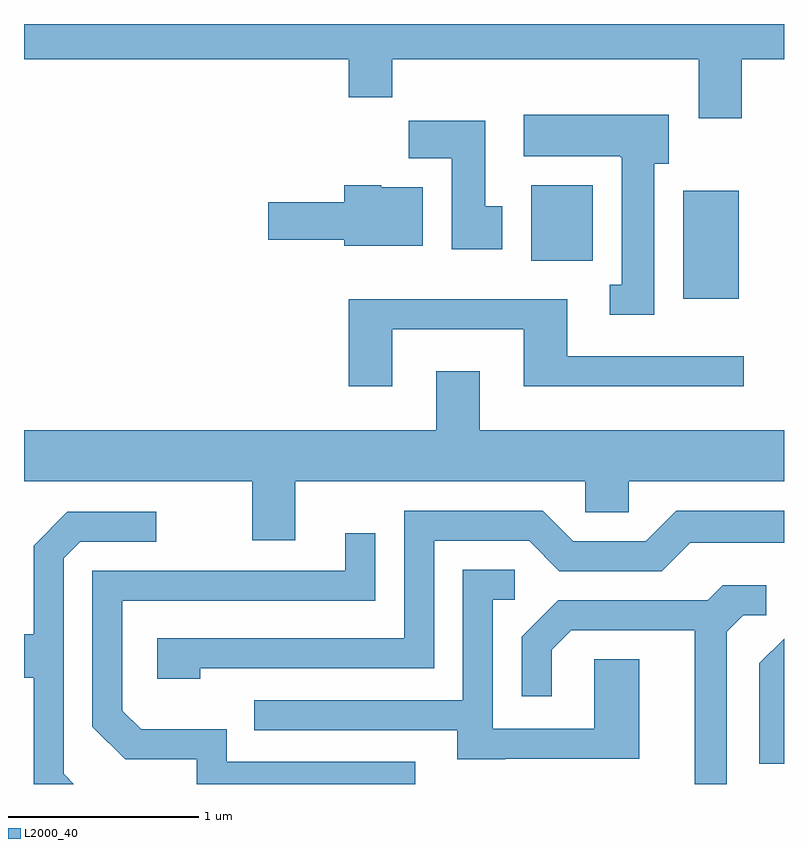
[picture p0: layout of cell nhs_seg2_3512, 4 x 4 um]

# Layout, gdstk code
import gdstk
lib = gdstk.Library(unit=1e-6, precision=1e-09)
def R(c, l, rs):  # rectangles x0, y0, x1, y1
    for r in rs: c.add(gdstk.rectangle(r[:2], r[2:], *l))
def P(c, l, *ps):  # polygons
    for p in ps: c.add(gdstk.Polygon(p, *l))
L2000_40 = (2000, 40)

nhs_seg2_3512 = lib.new_cell('nhs_seg2_3512')
R(nhs_seg2_3512, L2000_40, [(291.081,1080.356,291.374,1080.924), (290.281,1080.556,290.604,1080.954)])
P(nhs_seg2_3512, L2000_40, [(291.389,1081.616),(291.611,1081.616),(291.611,1081.802),(287.611,1081.802),(287.611,1081.616),(289.321,1081.616),(289.321,1081.416),(289.549,1081.416),(289.549,1081.616),(291.161,1081.616),(291.161,1081.306),(291.389,1081.306)],
  [(290.929,1081.066),(291.004,1081.066),(291.004,1081.324),(290.241,1081.324),(290.241,1081.106),(290.75,1081.106),(290.75,1081.1),(290.756,1081.1),(290.756,1080.429),(290.693,1080.429),(290.693,1080.271),(290.929,1080.271)],
  [(290.129,1080.844),(290.039,1080.844),(290.039,1081.294),(289.636,1081.294),(289.636,1081.096),(289.861,1081.096),(289.861,1080.616),(290.129,1080.616)],
  [(289.709,1080.944),(289.49,1080.944),(289.49,1080.954),(289.296,1080.954),(289.296,1080.864),(288.896,1080.864),(288.896,1080.666),(289.296,1080.666),(289.296,1080.636),(289.709,1080.636)],
  [(289.549,1080.196),(290.241,1080.196),(290.241,1079.896),(291.398,1079.896),(291.398,1080.054),(290.469,1080.054),(290.469,1080.354),(289.321,1080.354),(289.321,1079.896),(289.549,1079.896)],
  [(289.039,1079.396),(290.566,1079.396),(290.566,1079.231),(290.794,1079.231),(290.794,1079.396),(291.611,1079.396),(291.611,1079.664),(290.009,1079.664),(290.009,1079.974),(289.781,1079.974),(289.781,1079.664),(287.611,1079.664),(287.611,1079.396),(288.811,1079.396),(288.811,1079.086),(289.039,1079.086)],
  [(288.539,1078.411),(289.769,1078.411),(289.769,1079.081),(290.269,1079.081),(290.429,1078.921),(290.967,1078.921),(291.117,1079.071),(291.611,1079.071),(291.611,1079.239),(291.044,1079.239),(290.884,1079.079),(290.502,1079.079),(290.342,1079.239),(289.611,1079.239),(289.611,1078.569),(288.311,1078.569),(288.311,1078.356),(288.539,1078.356)],
  [(287.819,1077.857),(287.819,1078.989),(287.907,1079.076),(288.308,1079.076),(288.308,1079.234),(287.839,1079.234),(287.661,1079.057),(287.661,1078.589),(287.611,1078.589),(287.611,1078.361),(287.661,1078.361),(287.661,1077.802),(287.874,1077.802)],
  [(289.669,1077.919),(288.679,1077.919),(288.679,1078.089),(288.227,1078.089),(288.129,1078.187),(288.129,1078.766),(289.459,1078.766),(289.459,1079.123),(289.301,1079.123),(289.301,1078.924),(287.971,1078.924),(287.971,1078.104),(288.144,1077.931),(288.521,1077.931),(288.521,1077.802),(289.669,1077.802)],
  [(290.145,1077.936),(290.849,1077.936),(290.849,1078.459),(290.611,1078.459),(290.611,1078.094),(290.079,1078.094),(290.079,1078.771),(290.193,1078.771),(290.193,1078.929),(289.921,1078.929),(289.921,1078.244),(288.823,1078.244),(288.823,1078.086),(289.891,1078.086),(289.891,1077.931),(290.145,1077.931)],
  [(291.309,1078.604),(291.397,1078.691),(291.518,1078.691),(291.518,1078.849),(291.289,1078.849),(291.209,1078.769),(290.424,1078.769),(290.231,1078.577),(290.231,1078.263),(290.389,1078.263),(290.389,1078.509),(290.492,1078.611),(291.141,1078.611),(291.141,1077.802),(291.309,1077.802)],
  [(291.611,1078.567),(291.481,1078.437),(291.481,1077.908),(291.611,1077.908)])

lib.write_gds('nhs_seg2_3512.gds')
